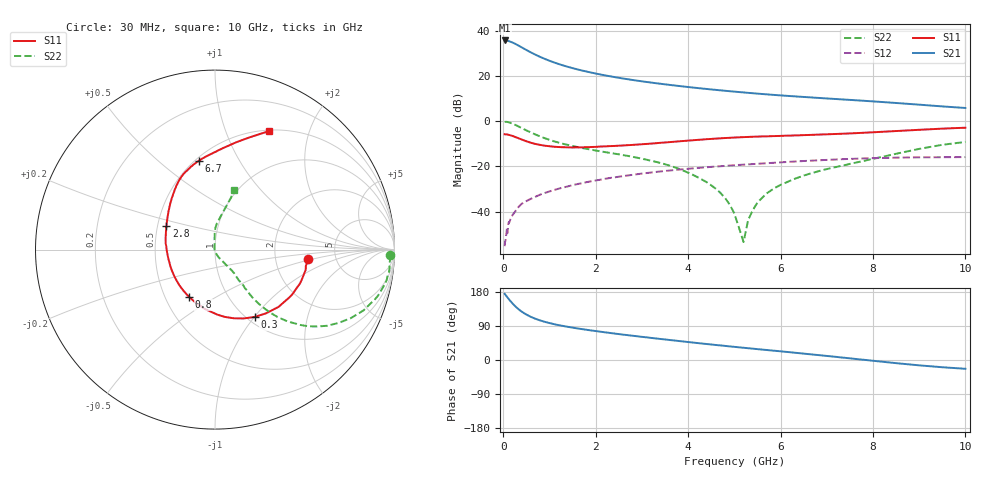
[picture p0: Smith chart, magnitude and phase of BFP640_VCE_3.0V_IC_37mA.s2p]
! (c) 2013  Infineon Technologies AG, Munich
! Infineon Technologies  Discrete & RF Semiconductors
! BFP640
! VCE =  3.0 V,  IC =  37 mA
! Common Emitter S-Parameters:  Apr 2013
# GHz  S  MA  R  50
!  f  S11  S21  S12  S22
! GHz  MAG  ANG  MAG  ANG  MAG  ANG  MAG  ANG
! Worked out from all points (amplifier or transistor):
!   99 points, 30 MHz to 10 GHz, reference 50 ohm
!   highest |S21| = 35.9 dB at 30 MHz (marker M1)
!   |S21| within 3 dB of that: start of sweep to 393.8 MHz
!   unconditionally stable (mu >= 1): 1.996 GHz to end of sweep
!   at 350 MHz: K = 0.42, MSG = 35.5 dB, |S12| = -37.6 dB
!   at 3.5 GHz: K = 1.06, MAG = 17.8 dB, |S12| = -22.0 dB
!   at 10 GHz: K = 1.06, MAG = 9.4 dB, |S12| = -15.8 dB
!   S11 on the Smith chart (normalised r, x): 30 MHz: 3.07, -0.46; 300 MHz: 1.08, -1.00; 800 MHz: 0.66, -0.38; 2.8 GHz: 0.56, +0.16; 6.7 GHz: 0.52, +0.69; 10 GHz: 0.51, +1.43
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0.03  0.5183 -6.1  62.62 174.7  0.0017 85.0  0.9745 -1.9
0.07  0.5144 -15.3  62.36 168.5  0.0033 81.6  0.9771 -7.5
0.12  0.5016 -26.2  60.43 160.7  0.0058 82.7  0.9539 -13.7
0.15  0.4933 -32.4  59.1 156.3  0.0065 77.4  0.9337 -17.2
0.2  0.4765 -42.1  56.32 149.4  0.0083 76.9  0.8937 -22.3
0.25  0.4549 -51.3  53.37 143.0  0.0097 72.6  0.8473 -26.8
0.3  0.4351 -59.6  50.11 137.3  0.0116 70.8  0.8004 -30.7
0.4  0.3962 -74.9  43.98 127.6  0.0149 69.1  0.7119 -37.0
0.5  0.3627 -87.9  38.52 120.0  0.017 67.3  0.6331 -41.5
0.6  0.3356 -99.6  33.94 113.7  0.0192 66.0  0.5666 -44.8
0.7  0.315 -109.9  30.14 108.6  0.0213 64.9  0.5105 -47.2
0.8  0.3006 -119.0  26.99 104.4  0.0237 64.5  0.4641 -48.9
1  0.2809 -135.0  22.21 97.5  0.0279 63.1  0.3905 -51.0
1.2  0.2699 -148.2  18.79 92.0  0.0321 62.3  0.3378 -52.0
1.7  0.2656 -172.9  13.51 81.6  0.0424 59.8  0.2575 -51.7
2.2  0.2789 170.1  10.53 73.1  0.0531 56.5  0.2085 -52.1
2.8  0.301 153.9  8.309 64.0  0.0652 52.2  0.1633 -51.1
3.4  0.3348 140.8  6.848 55.5  0.0774 47.0  0.1194 -53.3
5.1  0.4428 115.6  4.486 33.5  0.1081 32.1  0.0044 -107.8
6.7  0.504 100.1  3.384 14.4  0.135 17.8  0.0723 91.6
8.5  0.6111 78.6  2.565 -8.3  0.157 -0.4  0.1911 80.0
10  0.7248 65.5  1.986 -23.2  0.1614 -12.4  0.3504 72.0
